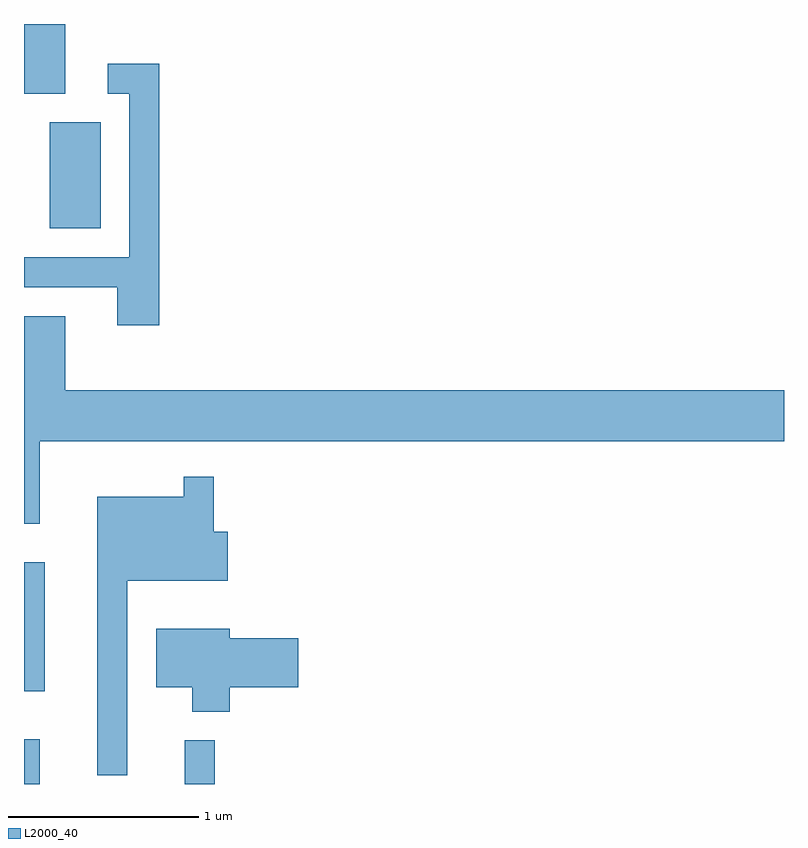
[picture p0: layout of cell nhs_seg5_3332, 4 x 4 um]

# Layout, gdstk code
import gdstk
lib = gdstk.Library(unit=1e-6, precision=1e-09)
def R(c, l, rs):  # rectangles x0, y0, x1, y1
    for r in rs: c.add(gdstk.rectangle(r[:2], r[2:], *l))
def P(c, l, *ps):  # polygons
    for p in ps: c.add(gdstk.Polygon(p, *l))
L2000_40 = (2000, 40)

nhs_seg5_3332 = lib.new_cell('nhs_seg5_3332')
R(nhs_seg5_3332, L2000_40, [(283.611,1486.072,283.694,1486.308), (284.456,1486.072,284.614,1486.303), (283.611,1486.561,283.719,1487.239), (283.746,1488.996,284.014,1489.554), (283.611,1489.706,283.829,1490.072)])
P(nhs_seg5_3332, L2000_40, [(284.324,1489.864),(284.053,1489.864),(284.053,1489.706),(284.166,1489.706),(284.166,1488.844),(283.611,1488.844),(283.611,1488.686),(284.101,1488.686),(284.101,1488.486),(284.324,1488.486)],
  [(283.694,1487.876),(287.611,1487.876),(287.611,1488.144),(283.829,1488.144),(283.829,1488.534),(283.611,1488.534),(283.611,1487.443),(283.694,1487.443)],
  [(284.154,1487.141),(284.684,1487.141),(284.684,1487.399),(284.609,1487.399),(284.609,1487.688),(284.451,1487.688),(284.451,1487.584),(283.996,1487.584),(283.996,1486.118),(284.154,1486.118)],
  [(284.694,1486.581),(285.054,1486.581),(285.054,1486.839),(284.694,1486.839),(284.694,1486.889),(284.306,1486.889),(284.306,1486.581),(284.496,1486.581),(284.496,1486.451),(284.694,1486.451)])

lib.write_gds('nhs_seg5_3332.gds')
